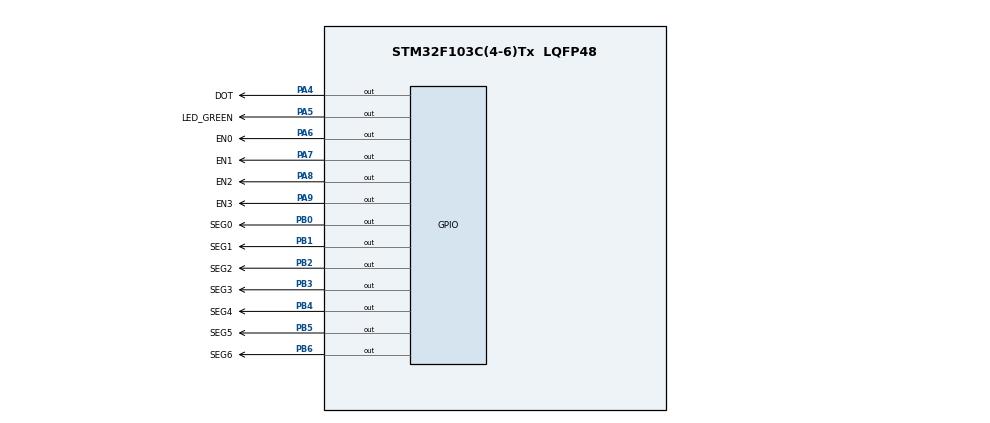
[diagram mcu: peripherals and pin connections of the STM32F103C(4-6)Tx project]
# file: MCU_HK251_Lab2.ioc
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Mcu.Family=STM32F1
Mcu.Name=STM32F103C(4-6)Tx
Mcu.Package=LQFP48
NVIC.PriorityGroup=NVIC_PRIORITYGROUP_4
NVIC.TIM2_IRQn=true\:0\:0\:false\:false\:true\:true\:true
PA4.GPIO_Label=DOT
PA4.GPIO_PuPd=GPIO_PULLUP
PA4.Signal=GPIO_Output
PA5.GPIO_Label=LED_GREEN
PA5.GPIO_PuPd=GPIO_PULLUP
PA5.Signal=GPIO_Output
PA6.GPIO_Label=EN0
PA6.GPIO_PuPd=GPIO_PULLUP
PA6.Signal=GPIO_Output
PA7.GPIO_Label=EN1
PA7.GPIO_PuPd=GPIO_PULLUP
PA7.Signal=GPIO_Output
PA8.GPIO_Label=EN2
PA8.GPIO_PuPd=GPIO_PULLUP
PA8.Signal=GPIO_Output
PA9.GPIO_Label=EN3
PA9.GPIO_PuPd=GPIO_PULLUP
PA9.Signal=GPIO_Output
PB0.GPIO_Label=SEG0
PB0.GPIO_PuPd=GPIO_PULLUP
PB0.Signal=GPIO_Output
PB1.GPIO_Label=SEG1
PB1.GPIO_PuPd=GPIO_PULLUP
PB1.Signal=GPIO_Output
PB2.GPIO_Label=SEG2
PB2.GPIO_PuPd=GPIO_PULLUP
PB2.Signal=GPIO_Output
PB3.GPIO_Label=SEG3
PB3.GPIO_PuPd=GPIO_PULLUP
PB3.Signal=GPIO_Output
PB4.GPIO_Label=SEG4
PB4.GPIO_PuPd=GPIO_PULLUP
PB4.Signal=GPIO_Output
PB5.GPIO_Label=SEG5
PB5.GPIO_PuPd=GPIO_PULLUP
PB5.Signal=GPIO_Output
PB6.GPIO_Label=SEG6
PB6.GPIO_PuPd=GPIO_PULLUP
PB6.Signal=GPIO_Output
ProjectManager.HeapSize=0x200
ProjectManager.StackSize=0x400
ProjectManager.TargetToolchain=STM32CubeIDE
RCC.APB1Freq_Value=8000000
RCC.APB2Freq_Value=8000000
TIM2.Period=9
TIM2.Prescaler=7999
VP_SYS_VS_ND.Mode=No_Debug
VP_TIM2_VS_ClockSourceINT.Mode=Internal
board=custom

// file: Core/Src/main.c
/* USER CODE BEGIN Header */
/**
  ******************************************************************************
  * @file           : main.c
  * @brief          : Main program body
  ******************************************************************************
  * @attention
  *
  * <h2><center>&copy; Copyright (c) 2025 STMicroelectronics.
  * All rights reserved.</center></h2>
  *
  * This software component is licensed by ST under BSD 3-Clause license,
  * the "License"; You may not use this file except in compliance with the
  * License. You may obtain a copy of the License at:
  *                        opensource.org/licenses/BSD-3-Clause
  *
  ******************************************************************************
  */
/* USER CODE END Header */
#include "main.h"
#include "tim.h"
#include "gpio.h"

/* USER CODE BEGIN Includes */
#include "led_7seg.h"
/* USER CODE END Includes */

/* USER CODE BEGIN PD */
#define LED_ON 0
#define LED_OFF 1
/* USER CODE END PD */

void SystemClock_Config(void);
/* USER CODE BEGIN PFP */
void init();
void update7SEG(int index);
/* USER CODE END PFP */

int main(void)
{

  /* MCU Configuration--------------------------------------------------------*/

  /* Reset of all peripherals, Initializes the Flash interface and the Systick. */
  HAL_Init();

  /* Configure the system clock */
  SystemClock_Config();

  /* Initialize all configured peripherals */
  MX_TIM2_Init();
  MX_GPIO_Init();
  /* USER CODE BEGIN 2 */
  HAL_TIM_Base_Start_IT (& htim2 ) ;
  init();
  /* USER CODE END 2 */

  /* Infinite loop */
  while (1)
  {

  }
}

void SystemClock_Config(void)
{
  RCC_OscInitTypeDef RCC_OscInitStruct = {0};
  RCC_ClkInitTypeDef RCC_ClkInitStruct = {0};

  /** Initializes the RCC Oscillators according to the specified parameters
  * in the RCC_OscInitTypeDef structure.
  */
  RCC_OscInitStruct.OscillatorType = RCC_OSCILLATORTYPE_HSI;
  RCC_OscInitStruct.HSIState = RCC_HSI_ON;
  RCC_OscInitStruct.HSICalibrationValue = RCC_HSICALIBRATION_DEFAULT;
  RCC_OscInitStruct.PLL.PLLState = RCC_PLL_NONE;
  if (HAL_RCC_OscConfig(&RCC_OscInitStruct) != HAL_OK)
  {
    Error_Handler();
  }
  /** Initializes the CPU, AHB and APB buses clocks
  */
  RCC_ClkInitStruct.ClockType = RCC_CLOCKTYPE_HCLK|RCC_CLOCKTYPE_SYSCLK
                              |RCC_CLOCKTYPE_PCLK1|RCC_CLOCKTYPE_PCLK2;
  RCC_ClkInitStruct.SYSCLKSource = RCC_SYSCLKSOURCE_HSI;
  RCC_ClkInitStruct.AHBCLKDivider = RCC_SYSCLK_DIV1;
  RCC_ClkInitStruct.APB1CLKDivider = RCC_HCLK_DIV1;
  RCC_ClkInitStruct.APB2CLKDivider = RCC_HCLK_DIV1;

  if (HAL_RCC_ClockConfig(&RCC_ClkInitStruct, FLASH_LATENCY_0) != HAL_OK)
  {
    Error_Handler();
  }
}

/* USER CODE BEGIN 4 */

int counter_seg = 0;
int counter_dot = 0;
int status = 0;
const int MAX_LED = 4;
int index_led = 0;
int led_buffer [4] = {1 , 2 , 3 , 4};
void init() {
	HAL_GPIO_WritePin(EN0_GPIO_Port, EN0_Pin, LED_OFF);
	HAL_GPIO_WritePin(EN1_GPIO_Port, EN1_Pin, LED_OFF);
	HAL_GPIO_WritePin(EN1_GPIO_Port, EN2_Pin, LED_OFF);
	HAL_GPIO_WritePin(EN1_GPIO_Port, EN3_Pin, LED_OFF);
}

void HAL_TIM_PeriodElapsedCallback ( TIM_HandleTypeDef * htim ) {
	counter_seg++;
	counter_dot++;
	if(counter_dot >= 100) {
		HAL_GPIO_TogglePin(DOT_GPIO_Port, DOT_Pin);
		counter_dot = 0;
	}
	if(counter_seg >= 5) {
		counter_seg = 0;
		if(index_led >= 4) {
			index_led = 0;
		}
		update7SEG(index_led++);
	}
}

void update7SEG (int index) {
	switch (index) {
	case 0:
	// Display the first 7 SEG with led_buffer [0]
		HAL_GPIO_WritePin(EN0_GPIO_Port, EN0_Pin, LED_ON);
		HAL_GPIO_WritePin(EN1_GPIO_Port, EN1_Pin, LED_OFF);
		HAL_GPIO_WritePin(EN0_GPIO_Port, EN2_Pin, LED_OFF);
		HAL_GPIO_WritePin(EN0_GPIO_Port, EN3_Pin, LED_OFF);
		display7SEG(led_buffer[0]);
	break ;
	case 1:
	// Display the second 7 SEG with led_buffer [1]
		HAL_GPIO_WritePin(EN0_GPIO_Port, EN0_Pin, LED_OFF);
		HAL_GPIO_WritePin(EN1_GPIO_Port, EN1_Pin, LED_ON);
		HAL_GPIO_WritePin(EN0_GPIO_Port, EN2_Pin, LED_OFF);
		HAL_GPIO_WritePin(EN0_GPIO_Port, EN3_Pin, LED_OFF);
		display7SEG(led_buffer[1]);
	break ;
	case 2:
	// Display the third 7 SEG with led_buffer [2]
		HAL_GPIO_WritePin(EN0_GPIO_Port, EN0_Pin, LED_OFF);
		HAL_GPIO_WritePin(EN1_GPIO_Port, EN1_Pin, LED_OFF);
		HAL_GPIO_WritePin(EN0_GPIO_Port, EN2_Pin, LED_ON);
		HAL_GPIO_WritePin(EN0_GPIO_Port, EN3_Pin, LED_OFF);
		display7SEG(led_buffer[2]);
	break ;
	case 3:
	// Display the forth 7 SEG with led_buffer [3]
		HAL_GPIO_WritePin(EN0_GPIO_Port, EN0_Pin, LED_OFF);
		HAL_GPIO_WritePin(EN1_GPIO_Port, EN1_Pin, LED_OFF);
		HAL_GPIO_WritePin(EN0_GPIO_Port, EN2_Pin, LED_OFF);
		HAL_GPIO_WritePin(EN0_GPIO_Port, EN3_Pin, LED_ON);
		display7SEG(led_buffer[3]);
	break ;
	default:
	break ;
	}
}

/* USER CODE END 4 */

void Error_Handler(void)
{
  __disable_irq();
  while (1)
  {
  }
}

/************************ (C) COPYRIGHT STMicroelectronics *****END OF FILE****/
